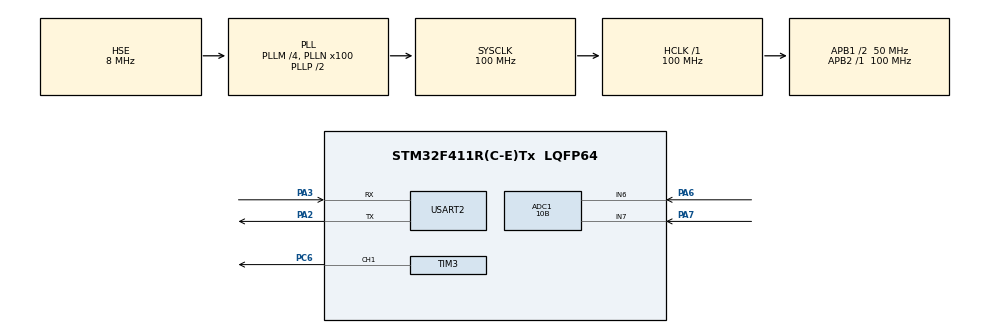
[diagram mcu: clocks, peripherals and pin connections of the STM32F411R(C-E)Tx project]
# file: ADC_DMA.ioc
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ADC1.Channel-0\#ChannelRegularConversion=ADC_CHANNEL_7
ADC1.Channel-1\#ChannelRegularConversion=ADC_CHANNEL_6
ADC1.ContinuousConvMode=ENABLE
ADC1.DMAContinuousRequests=ENABLE
ADC1.NbrOfConversion=2
ADC1.NbrOfConversionFlag=1
ADC1.Rank-0\#ChannelRegularConversion=1
ADC1.Rank-1\#ChannelRegularConversion=2
ADC1.Resolution=ADC_RESOLUTION_10B
ADC1.SamplingTime-0\#ChannelRegularConversion=ADC_SAMPLETIME_112CYCLES
ADC1.SamplingTime-1\#ChannelRegularConversion=ADC_SAMPLETIME_112CYCLES
ADC1.ScanConvMode=ENABLE
ADC1.master=1
Dma.ADC1.0.Direction=DMA_PERIPH_TO_MEMORY
Dma.ADC1.0.FIFOMode=DMA_FIFOMODE_DISABLE
Dma.ADC1.0.Instance=DMA2_Stream0
Dma.ADC1.0.MemDataAlignment=DMA_MDATAALIGN_HALFWORD
Dma.ADC1.0.MemInc=DMA_MINC_ENABLE
Dma.ADC1.0.Mode=DMA_CIRCULAR
Dma.ADC1.0.PeriphDataAlignment=DMA_PDATAALIGN_HALFWORD
Dma.ADC1.0.PeriphInc=DMA_PINC_DISABLE
Dma.ADC1.0.Priority=DMA_PRIORITY_LOW
Dma.Request0=ADC1
Mcu.Family=STM32F4
Mcu.Name=STM32F411R(C-E)Tx
Mcu.Package=LQFP64
NVIC.DMA2_Stream0_IRQn=true\:0\:0\:false\:false\:true\:false\:true\:true
NVIC.PriorityGroup=NVIC_PRIORITYGROUP_4
NVIC.TIM3_IRQn=true\:0\:0\:false\:false\:true\:true\:true\:true
PA13.Mode=Serial_Wire
PA13.Signal=SYS_JTMS-SWDIO
PA14.Mode=Serial_Wire
PA14.Signal=SYS_JTCK-SWCLK
PA2.Mode=Asynchronous
PA2.Signal=USART2_TX
PA3.Mode=Asynchronous
PA3.Signal=USART2_RX
PA6.Signal=ADCx_IN6
PA7.Signal=ADCx_IN7
PC6.Signal=S_TIM3_CH1
PH0\ -\ OSC_IN.Mode=HSE-External-Oscillator
PH0\ -\ OSC_IN.Signal=RCC_OSC_IN
PH1\ -\ OSC_OUT.Mode=HSE-External-Oscillator
PH1\ -\ OSC_OUT.Signal=RCC_OSC_OUT
ProjectManager.HeapSize=0x200
ProjectManager.StackSize=0x400
ProjectManager.TargetToolchain=STM32CubeIDE
RCC.48MHZClocksFreq_Value=50000000
RCC.AHBFreq_Value=100000000
RCC.APB1CLKDivider=RCC_HCLK_DIV2
RCC.APB1Freq_Value=50000000
RCC.APB1TimFreq_Value=100000000
RCC.APB2Freq_Value=100000000
RCC.APB2TimFreq_Value=100000000
RCC.CortexFreq_Value=100000000
RCC.HCLKFreq_Value=100000000
RCC.HSE_VALUE=8000000
RCC.HSI_VALUE=16000000
RCC.LSE_VALUE=32768
RCC.PLLM=4
RCC.PLLN=100
RCC.PLLSourceVirtual=RCC_PLLSOURCE_HSE
RCC.SYSCLKFreq_VALUE=100000000
RCC.SYSCLKSource=RCC_SYSCLKSOURCE_PLLCLK
RCC.VCOOutputFreq_Value=200000000
SH.ADCx_IN6.0=ADC1_IN6,IN6
SH.ADCx_IN7.0=ADC1_IN7,IN7
SH.S_TIM3_CH1.0=TIM3_CH1,PWM Generation1 CH1
TIM3.Channel-PWM\ Generation1\ CH1=TIM_CHANNEL_1
TIM3.Period=1000-1
TIM3.Prescaler=1000-1
USART2.VirtualMode=VM_ASYNC
VP_TIM3_VS_ClockSourceINT.Mode=Internal
board=custom

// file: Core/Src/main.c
/* USER CODE BEGIN Header */
/**
  ******************************************************************************
  * @file           : main.c
  * @brief          : Main program body
  ******************************************************************************
  * @attention
  *
  * Copyright (c) 2023 STMicroelectronics.
  * All rights reserved.
  *
  * This software is licensed under terms that can be found in the LICENSE file
  * in the root directory of this software component.
  * If no LICENSE file comes with this software, it is provided AS-IS.
  *
  ******************************************************************************
  */
/* USER CODE END Header */
#include "main.h"
#include "adc.h"
#include "dma.h"
#include "tim.h"
#include "usart.h"
#include "gpio.h"

/* USER CODE BEGIN Includes */
#include "stdio.h"
/* USER CODE END Includes */

/* USER CODE BEGIN PM */
#ifdef __GNUC__
  /* With GCC, small printf (option LD Linker->Libraries->Small printf
     set to 'Yes') calls __io_putchar() */
#define PUTCHAR_PROTOTYPE int __io_putchar(int ch)
#else
  #define PUTCHAR_PROTOTYPE int fputc(int ch, FILE *f)
#endif /* __GNUC__ */
PUTCHAR_PROTOTYPE
{
  /* Place your implementation of fputc here */
  /* e.g. write a character to the EVAL_COM1 and Loop until the end of transmission */
  HAL_UART_Transmit(&huart2, (uint8_t *)&ch, 1, 0xFFFF);

  return ch;
}
/* USER CODE END PM */

/* USER CODE BEGIN PV */
uint16_t adcValue[2];
/* USER CODE END PV */

void SystemClock_Config(void);

int main(void)
{

  /* MCU Configuration--------------------------------------------------------*/

  /* Reset of all peripherals, Initializes the Flash interface and the Systick. */
  HAL_Init();

  /* Configure the system clock */
  SystemClock_Config();

  /* Initialize all configured peripherals */
  MX_GPIO_Init();
  MX_DMA_Init();
  MX_ADC1_Init();
  MX_USART2_UART_Init();
  MX_TIM3_Init();
  /* USER CODE BEGIN 2 */
  HAL_ADC_Start_DMA(&hadc1, adcValue, 2);
  HAL_TIM_PWM_Start(&htim3, TIM_CHANNEL_1);
  /* USER CODE END 2 */

  /* Infinite loop */
  while (1)
  {

    /* USER CODE BEGIN 3 */
    printf("ADC_VALUE1 -> %4d\r\n",adcValue[0]);
    printf("ADC_VALUE2 -> %4d\r\n\n",adcValue[1]);
    TIM3->CCR1 = adcValue[1];
    HAL_Delay(1000);
  }
  /* USER CODE END 3 */
}

void SystemClock_Config(void)
{
  RCC_OscInitTypeDef RCC_OscInitStruct = {0};
  RCC_ClkInitTypeDef RCC_ClkInitStruct = {0};

  /** Configure the main internal regulator output voltage
  */
  __HAL_RCC_PWR_CLK_ENABLE();
  __HAL_PWR_VOLTAGESCALING_CONFIG(PWR_REGULATOR_VOLTAGE_SCALE1);

  /** Initializes the RCC Oscillators according to the specified parameters
  * in the RCC_OscInitTypeDef structure.
  */
  RCC_OscInitStruct.OscillatorType = RCC_OSCILLATORTYPE_HSE;
  RCC_OscInitStruct.HSEState = RCC_HSE_ON;
  RCC_OscInitStruct.PLL.PLLState = RCC_PLL_ON;
  RCC_OscInitStruct.PLL.PLLSource = RCC_PLLSOURCE_HSE;
  RCC_OscInitStruct.PLL.PLLM = 4;
  RCC_OscInitStruct.PLL.PLLN = 100;
  RCC_OscInitStruct.PLL.PLLP = RCC_PLLP_DIV2;
  RCC_OscInitStruct.PLL.PLLQ = 4;
  if (HAL_RCC_OscConfig(&RCC_OscInitStruct) != HAL_OK)
  {
    Error_Handler();
  }

  /** Initializes the CPU, AHB and APB buses clocks
  */
  RCC_ClkInitStruct.ClockType = RCC_CLOCKTYPE_HCLK|RCC_CLOCKTYPE_SYSCLK
                              |RCC_CLOCKTYPE_PCLK1|RCC_CLOCKTYPE_PCLK2;
  RCC_ClkInitStruct.SYSCLKSource = RCC_SYSCLKSOURCE_PLLCLK;
  RCC_ClkInitStruct.AHBCLKDivider = RCC_SYSCLK_DIV1;
  RCC_ClkInitStruct.APB1CLKDivider = RCC_HCLK_DIV2;
  RCC_ClkInitStruct.APB2CLKDivider = RCC_HCLK_DIV1;

  if (HAL_RCC_ClockConfig(&RCC_ClkInitStruct, FLASH_LATENCY_3) != HAL_OK)
  {
    Error_Handler();
  }
}

void Error_Handler(void)
{
  __disable_irq();
  while (1)
  {
  }
}
